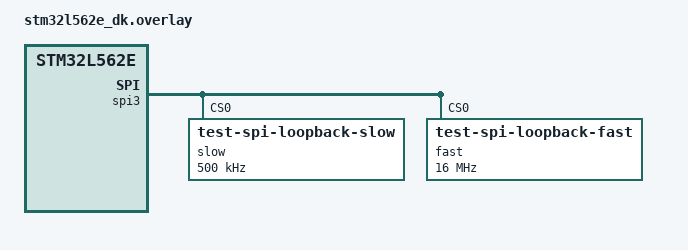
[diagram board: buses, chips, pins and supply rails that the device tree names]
/*
 * Copyright (c) 2021 STMicroelectronics
 *
 * SPDX-License-Identifier: Apache-2.0
 */

&dma1 {
	status = "okay";
};

&dma2 {
	status = "okay";
};

tst_dma0: &dmamux1 {
	status = "okay";
};

&spi3 {
	dmas = <&dmamux1 0 16 STM32_DMA_PERIPH_TX>,
	       <&dmamux1 7 15 STM32_DMA_PERIPH_RX>;
	dma-names = "tx", "rx";
	slow@0 {
		compatible = "test-spi-loopback-slow";
		reg = <0>;
		spi-max-frequency = <500000>;
	};
	fast@0 {
		compatible = "test-spi-loopback-fast";
		reg = <0>;
		spi-max-frequency = <16000000>;
	};
};

&dmamux1 {
	status = "okay";
};
